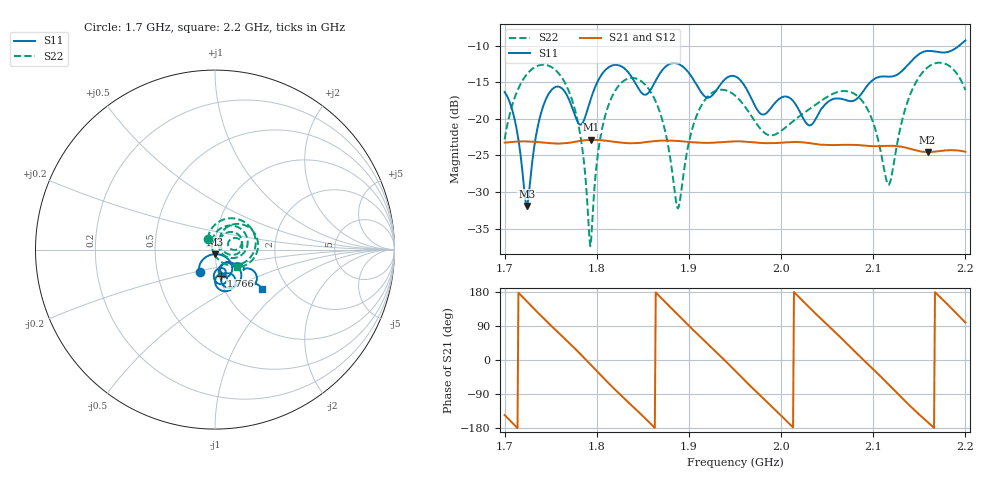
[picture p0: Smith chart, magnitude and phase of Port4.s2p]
# Hz S RI R 50
! CMT, CMT808U, 21440046, 21.4.3/4
! Date: 12/13/2025 10:46:42 PM
! Data: Format (Calibration Info)
! Freq	S11:Re/Im(F2)	S41:Re/Im(F2)	S14:Re/Im(F2)	S44:Re/Im(F2)
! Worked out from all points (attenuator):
!   501 points, 1.7 GHz to 2.2 GHz, reference 50 ohm
!   highest |S21| = -22.86 dB at 1.794 GHz (marker M1); lowest = -24.5 dB at 2.159 GHz (marker M2)
!   lowest |S11| = -31.9 dB at 1.724 GHz (marker M3), VSWR 1.05, Z = 50 - j2.54 ohm
!   |S11| at or under -10 dB: start of sweep to 2.193 GHz
!   |S22| runs from -37.4 to -12.3 dB; largest |S21 - S12| = 0.00046
!   S11 on the Smith chart (normalised r, x): 1.7 GHz: 0.82, -0.21; 1.766 GHz: 1.02, -0.31; 2.2 GHz: 1.49, -0.75
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1.7e9  -0.0856 -0.1266  -0.0565 -0.0394  -0.0563 -0.0394  -0.04 0.0604
1.712e9  -0.0708 -0.0592  -0.0697 -0.00623  -0.0696 -0.00643  0.00773 0.1457
1.724e9  0.00062 -0.0254  -0.0636 0.0296  -0.0635 0.0294  0.1015 0.1743
1.742e9  0.0919 -0.0818  -0.0243 0.0645  -0.0244 0.0643  0.2163 0.0916
1.766e9  0.0348 -0.1474  0.0396 0.0555  0.0394 0.0554  0.1571 -0.075
1.784e9  0.0551 -0.0745  0.0697 0.0139  0.0696 0.014  0.024 -0.0603
1.794e9  0.1133 -0.0818  0.0698 -0.0174  0.0697 -0.0173  -0.0149 0.00329
1.804e9  0.1455 -0.1306  0.0554 -0.0453  0.0553 -0.0451  -0.00689 0.0748
1.819e9  0.1176 -0.2023  0.0168 -0.0677  0.0169 -0.0676  0.073 0.1337
1.852e9  0.0557 -0.1353  -0.0616 -0.0318  -0.0613 -0.032  0.173 0.000834
1.867e9  0.1126 -0.1626  -0.07 0.0112  -0.0699 0.011  0.1085 -0.0466
1.888e9  0.056 -0.2321  -0.0345 0.0617  -0.0345 0.0615  0.0235 0.00661
1.912e9  0.00536 -0.1567  0.0322 0.0607  0.032 0.0607  0.0702 0.0956
1.95e9  0.0314 -0.1931  0.0621 -0.0329  0.062 -0.0326  0.1434 0.0193
1.988e9  0.0486 -0.1061  -0.0326 -0.0599  -0.0324 -0.0599  0.0745 0.0203
2.007e9  0.0477 -0.1333  -0.0663 -0.0198  -0.0662 -0.0199  0.0769 0.0462
2.034e9  0.0575 -0.0725  -0.0441 0.0516  -0.0442 0.0514  0.1027 0.0638
2.085e9  0.1214 -0.0754  0.0651 0.0121  0.065 0.0122  0.1391 -0.0122
2.117e9  0.1592 -0.1122  0.0277 -0.0594  0.028 -0.0593  0.0315 0.0162
2.137e9  0.2039 -0.1113  -0.026 -0.0578  -0.0259 -0.0577  0.0563 0.1171
2.159e9  0.2273 -0.1832  -0.0569 -0.0168  -0.0568 -0.017  0.1881 0.1241
2.2e9  0.2641 -0.221  -0.00921 0.0589  -0.00935 0.0589  0.1225 -0.0992
